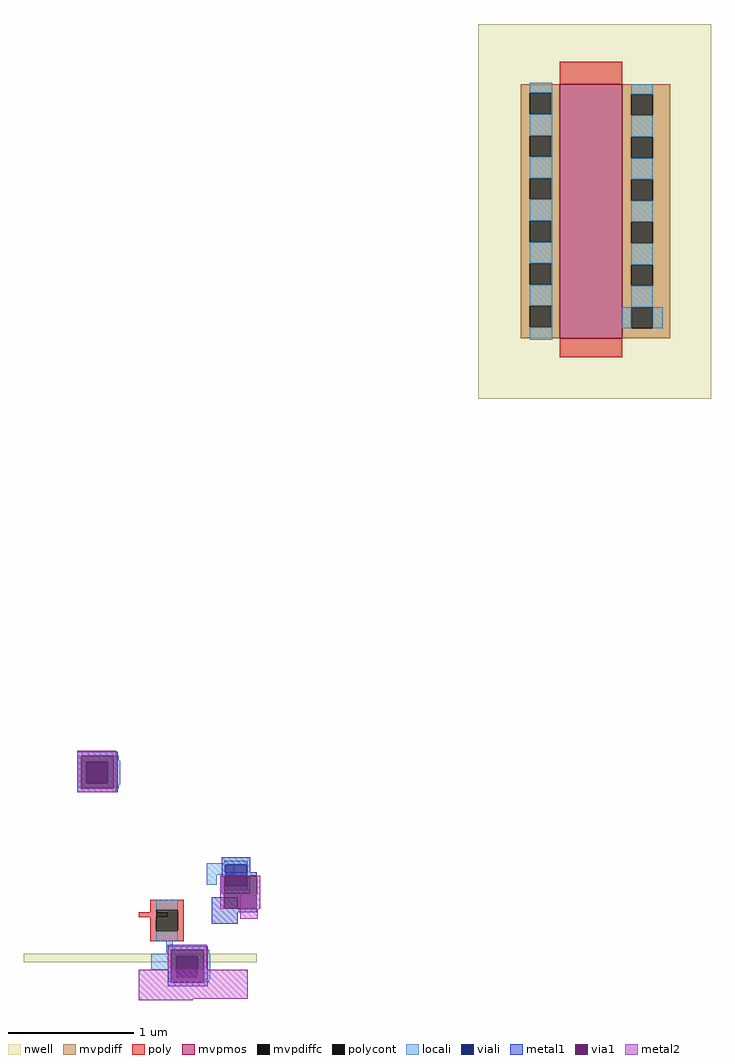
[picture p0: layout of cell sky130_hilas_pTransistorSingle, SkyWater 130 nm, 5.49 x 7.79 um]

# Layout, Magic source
magic
tech sky130A
<< nwell >>
rect 0 30 186 37
<< poly >>
rect 92 66 115 70
<< locali >>
rect 146 100 168 109
rect 146 92 154 100
rect 114 37 119 50
rect 102 24 119 37
<< metal1 >>
rect 150 61 171 82
<< metal2 >>
rect 173 65 187 84
rect 92 1 179 24
rect 92 0 135 1
use sky130_hilas_li2m2  sky130_hilas_li2m2_1
transform 1 0 115 0 1 11
box 0 0 34 33
use sky130_hilas_li2m2  sky130_hilas_li2m2_0
transform 1 0 43 0 1 166
box 0 0 34 33
use sky130_hilas_m12m2  sky130_hilas_m12m2_0
transform 1 0 157 0 1 70
box 0 0 32 32
use sky130_hilas_poly2li  sky130_hilas_poly2li_0
transform 1 0 101 0 1 47
box 0 0 27 33
use sky130_hilas_pTransistorVert01  sky130_hilas_pTransistorVert01_0
transform 1 0 363 0 1 480
box 0 0 186 299
use sky130_hilas_li2m1  sky130_hilas_li2m1_0
transform 1 0 158 0 1 85
box 0 0 23 29
<< properties >>
string LEFsite unithd
string LEFclass CORE
string LEFsymmetry X Y R90
<< end >>

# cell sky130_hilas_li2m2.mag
magic
tech sky130A
<< locali >>
rect 1 25 33 29
rect 1 24 34 25
rect 1 7 7 24
rect 24 7 34 24
rect 1 6 34 7
rect 1 3 33 6
<< viali >>
rect 7 7 24 24
<< metal1 >>
rect 0 29 32 32
rect 0 3 3 29
rect 29 3 32 29
rect 0 0 32 3
<< via1 >>
rect 3 24 29 29
rect 3 7 7 24
rect 7 7 24 24
rect 24 7 29 24
rect 3 3 29 7
<< metal2 >>
rect 0 29 31 33
rect 0 3 3 29
rect 29 3 31 29
rect 0 0 31 3
<< properties >>
string LEFsite unithd
string LEFclass CORE
string LEFsymmetry X Y R90
<< end >>

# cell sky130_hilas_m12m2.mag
magic
tech sky130A
<< metal1 >>
rect 3 29 29 32
rect 3 0 29 3
<< via1 >>
rect 3 3 29 29
<< metal2 >>
rect 0 3 3 29
rect 29 3 32 29
<< properties >>
string LEFsite unithd
string LEFclass CORE
string LEFsymmetry X Y R90
<< end >>

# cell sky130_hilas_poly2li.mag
magic
tech sky130A
<< poly >>
rect 0 25 27 33
rect 0 8 5 25
rect 22 8 27 25
rect 0 0 27 8
<< polycont >>
rect 5 8 22 25
<< locali >>
rect 5 25 22 33
rect 5 0 22 8
<< properties >>
string LEFsite unithd
string LEFclass CORE
string LEFsymmetry X Y R90
<< end >>

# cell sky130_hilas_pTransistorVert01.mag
magic
tech sky130A
<< nwell >>
rect 0 0 186 299
<< mvpmos >>
rect 65 48 115 251
<< mvpdiff >>
rect 34 244 65 251
rect 34 227 41 244
rect 58 227 65 244
rect 34 210 65 227
rect 34 193 41 210
rect 58 193 65 210
rect 34 176 65 193
rect 34 159 41 176
rect 58 159 65 176
rect 34 142 65 159
rect 34 125 41 142
rect 58 125 65 142
rect 34 108 65 125
rect 34 91 41 108
rect 58 91 65 108
rect 34 74 65 91
rect 34 57 41 74
rect 58 57 65 74
rect 34 48 65 57
rect 115 243 153 251
rect 115 226 122 243
rect 139 226 153 243
rect 115 209 153 226
rect 115 192 122 209
rect 139 192 153 209
rect 115 175 153 192
rect 115 158 122 175
rect 139 158 153 175
rect 115 141 153 158
rect 115 124 122 141
rect 139 124 153 141
rect 115 107 153 124
rect 115 90 122 107
rect 139 90 153 107
rect 115 73 153 90
rect 115 56 122 73
rect 139 56 153 73
rect 115 48 153 56
<< mvpdiffc >>
rect 41 227 58 244
rect 41 193 58 210
rect 41 159 58 176
rect 41 125 58 142
rect 41 91 58 108
rect 41 57 58 74
rect 122 226 139 243
rect 122 192 139 209
rect 122 158 139 175
rect 122 124 139 141
rect 122 90 139 107
rect 122 56 139 73
<< poly >>
rect 65 251 115 269
rect 65 33 115 48
<< locali >>
rect 41 244 59 252
rect 58 227 59 244
rect 41 210 59 227
rect 58 193 59 210
rect 41 176 59 193
rect 58 159 59 176
rect 41 142 59 159
rect 58 125 59 142
rect 41 108 59 125
rect 58 91 59 108
rect 41 74 59 91
rect 58 57 59 74
rect 122 243 139 251
rect 122 209 139 226
rect 122 175 139 192
rect 122 141 139 158
rect 122 107 139 124
rect 122 73 139 90
rect 41 47 59 57
rect 114 56 122 73
rect 139 56 147 73
<< properties >>
string LEFsite unithd
string LEFclass CORE
string LEFsymmetry X Y R90
<< end >>

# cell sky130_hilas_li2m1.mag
magic
tech sky130A
<< locali >>
rect 2 23 21 26
rect 2 6 3 23
rect 20 6 21 23
rect 2 3 21 6
<< viali >>
rect 3 6 20 23
<< metal1 >>
rect 0 23 23 29
rect 0 6 3 23
rect 20 6 23 23
rect 0 0 23 6
<< properties >>
string LEFsite unithd
string LEFclass CORE
string LEFsymmetry X Y R90
<< end >>
